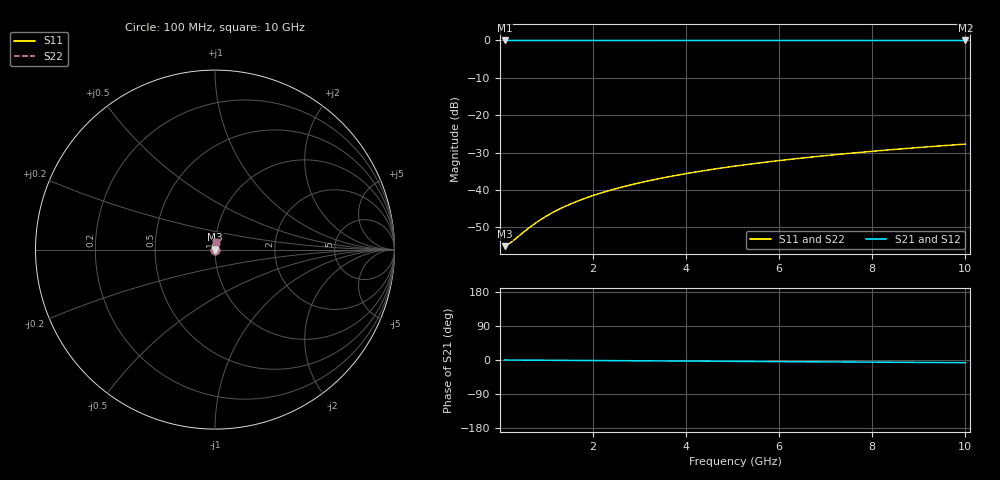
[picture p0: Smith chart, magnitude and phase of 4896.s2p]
# Hz S RI R 50.00
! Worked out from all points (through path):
!   100 points, 100 MHz to 10 GHz, reference 50 ohm
!   highest |S21| = -0.01 dB at 100 MHz (marker M1); lowest = 0.0 dB at 10 GHz (marker M2)
!   lowest |S11| = -55.1 dB at 100 MHz (marker M3), VSWR 1.00, Z = 50.2 + j0.041 ohm
!   |S11| at or under -10 dB: start of sweep to end of sweep
!   |S22| runs from -55.1 to -27.7 dB; largest |S21 - S12| = 0
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1e8  0.00172 0.000408  0.9983 -0.00123  0.9983 -0.00123  0.00172 0.000408
2e8  0.00173 0.000817  0.9983 -0.00246  0.9983 -0.00246  0.00173 0.000817
3e8  0.00174 0.00123  0.9983 -0.00368  0.9983 -0.00368  0.00174 0.00123
5e8  0.00176 0.00204  0.9982 -0.00614  0.9982 -0.00614  0.00176 0.00204
7e8  0.00178 0.00286  0.9982 -0.0086  0.9982 -0.0086  0.00178 0.00286
8e8  0.00179 0.00327  0.9982 -0.00983  0.9982 -0.00983  0.00179 0.00327
1e9  0.00182 0.00408  0.9981 -0.0123  0.9981 -0.0123  0.00182 0.00408
1.2e9  0.00185 0.0049  0.9981 -0.0147  0.9981 -0.0147  0.00185 0.0049
1.4e9  0.00188 0.00571  0.998 -0.0172  0.998 -0.0172  0.00188 0.00571
1.6e9  0.00191 0.00653  0.998 -0.0196  0.998 -0.0196  0.00191 0.00653
1.8e9  0.00195 0.00735  0.9979 -0.0221  0.9979 -0.0221  0.00195 0.00735
2.1e9  0.00202 0.00857  0.9978 -0.0258  0.9978 -0.0258  0.00202 0.00857
2.5e9  0.00212 0.0102  0.9977 -0.0307  0.9977 -0.0307  0.00212 0.0102
2.9e9  0.00223 0.0118  0.9975 -0.0356  0.9975 -0.0356  0.00223 0.0118
3.4e9  0.0024 0.0139  0.9972 -0.0417  0.9972 -0.0417  0.0024 0.0139
4.2e9  0.00272 0.0171  0.9967 -0.0516  0.9967 -0.0516  0.00272 0.0171
5.1e9  0.00315 0.0208  0.9959 -0.0626  0.9959 -0.0626  0.00315 0.0208
5.9e9  0.0036 0.024  0.9952 -0.0724  0.9952 -0.0724  0.0036 0.024
6.7e9  0.00412 0.0272  0.9943 -0.0822  0.9943 -0.0822  0.00412 0.0272
7.5e9  0.0047 0.0304  0.9933 -0.092  0.9933 -0.092  0.0047 0.0304
8.4e9  0.00543 0.034  0.9921 -0.103  0.9921 -0.103  0.00543 0.034
1e10  0.00692 0.0404  0.9896 -0.1225  0.9896 -0.1225  0.00692 0.0404
